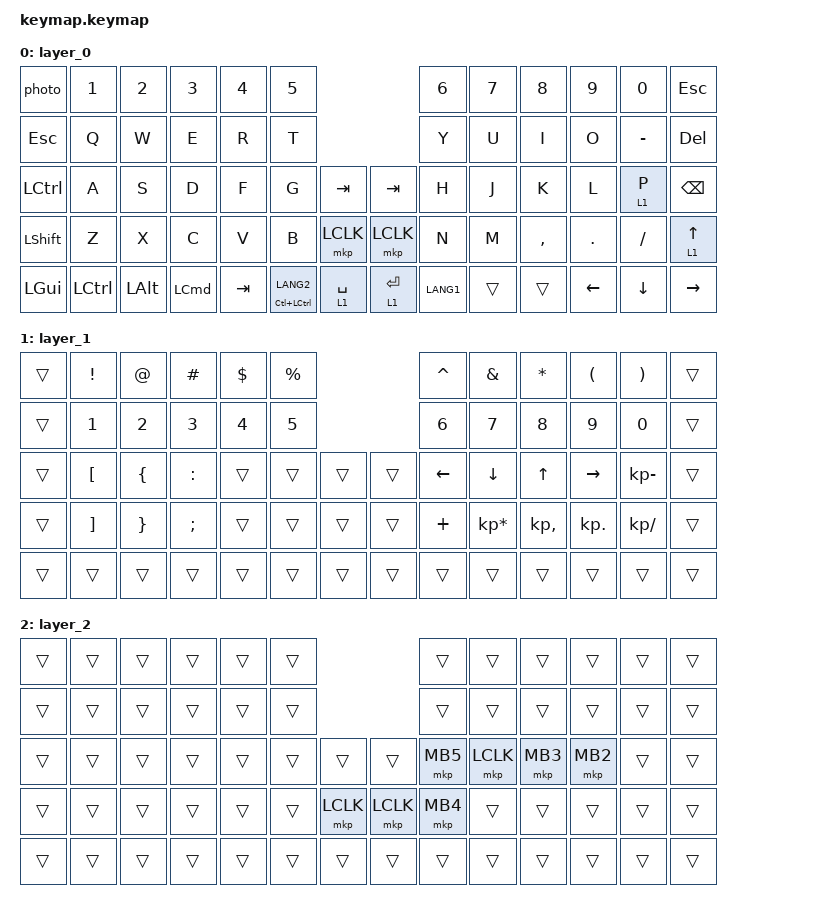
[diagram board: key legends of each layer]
#include <behaviors.dtsi>
#include <dt-bindings/zmk/bt.h>
#include <dt-bindings/zmk/keys.h>
#include <dt-bindings/zmk/pointing.h>

/ {
    combos {
        compatible = "zmk,combos";

        BT0 {
            bindings = <&bt BT_SEL 0>;
            key-positions = <13 18>;
        };

        BT1 {
            bindings = <&bt BT_SEL 1>;
            key-positions = <14 19>;
        };

        BT2 {
            bindings = <&bt BT_SEL 2>;
            key-positions = <15 20>;
        };

        BT3 {
            bindings = <&bt BT_SEL 3>;
            key-positions = <16 21>;
        };

        BT4 {
            bindings = <&bt BT_SEL 4>;
            key-positions = <17 23>;
        };
    };

    macros {
        photo: new_macro {
            compatible = "zmk,behavior-macro";
            #binding-cells = <0>;
            bindings = <&kp LG(LS(NUMBER_4))>;
            label = "NEW_MACRO";
        };
    };

    keymap {
        compatible = "zmk,keymap";

        layer_0 {
            bindings = <
&photo            &kp NUMBER_1  &kp NUMBER_2  &kp NUMBER_3      &kp NUMBER_4  &kp NUMBER_5                                   &kp NUMBER_6  &kp NUMBER_7  &kp NUMBER_8  &kp NUMBER_9  &kp NUMBER_0  &kp ESCAPE
&kp ESCAPE        &kp Q         &kp W         &kp E             &kp R         &kp T                                          &kp Y         &kp U         &kp I         &kp O         &kp MINUS     &kp DELETE
&kp LEFT_CONTROL  &kp A         &kp S         &kp D             &kp F         &kp G                &kp TAB      &kp TAB      &kp H         &kp J         &kp K         &kp L         &lt 1 P       &kp BACKSPACE
&kp LSHFT         &kp Z         &kp X         &kp C             &kp V         &kp B                &mkp LCLK    &mkp LCLK    &kp N         &kp M         &kp COMMA     &kp DOT       &kp SLASH     &lt 1 UP_ARROW
&kp LGUI          &kp LCTRL     &kp LEFT_ALT  &kp LEFT_COMMAND  &kp TAB       &mt LC(LCTRL) LANG2  &lt 1 SPACE  &lt 1 ENTER  &kp LANG1     &trans        &trans        &kp LEFT      &kp DOWN      &kp RIGHT
            >;
        };

        layer_1 {
            bindings = <
&trans  &kp EXCLAMATION    &kp AT_SIGN      &kp HASH       &kp DOLLAR    &kp PERCENT                  &kp CARET     &kp AMPERSAND    &kp ASTERISK  &kp LEFT_PARENTHESIS  &kp RIGHT_PARENTHESIS  &trans
&trans  &kp NUMBER_1       &kp NUMBER_2     &kp NUMBER_3   &kp NUMBER_4  &kp N5                       &kp NUMBER_6  &kp N7           &kp N8        &kp N9                &kp N0                 &trans
&trans  &kp LEFT_BRACKET   &kp LEFT_BRACE   &kp COLON      &trans        &trans       &trans  &trans  &kp LEFT      &kp DOWN         &kp UP_ARROW  &kp RIGHT             &kp KP_MINUS           &trans
&trans  &kp RIGHT_BRACKET  &kp RIGHT_BRACE  &kp SEMICOLON  &trans        &trans       &trans  &trans  &kp PLUS      &kp KP_MULTIPLY  &kp KP_COMMA  &kp KP_DOT            &kp KP_DIVIDE          &trans
&trans  &trans             &trans           &trans         &trans        &trans       &trans  &trans  &trans        &trans           &trans        &trans                &trans                 &trans
            >;
        };

        layer_2 {
            bindings = <
&trans  &trans  &trans  &trans  &trans  &trans                        &trans    &trans     &trans    &trans    &trans  &trans
&trans  &trans  &trans  &trans  &trans  &trans                        &trans    &trans     &trans    &trans    &trans  &trans
&trans  &trans  &trans  &trans  &trans  &trans  &trans     &trans     &mkp MB5  &mkp LCLK  &mkp MB3  &mkp MB2  &trans  &trans
&trans  &trans  &trans  &trans  &trans  &trans  &mkp LCLK  &mkp LCLK  &mkp MB4  &trans     &trans    &trans    &trans  &trans
&trans  &trans  &trans  &trans  &trans  &trans  &trans     &trans     &trans    &trans     &trans    &trans    &trans  &trans
            >;
        };
    };
};
